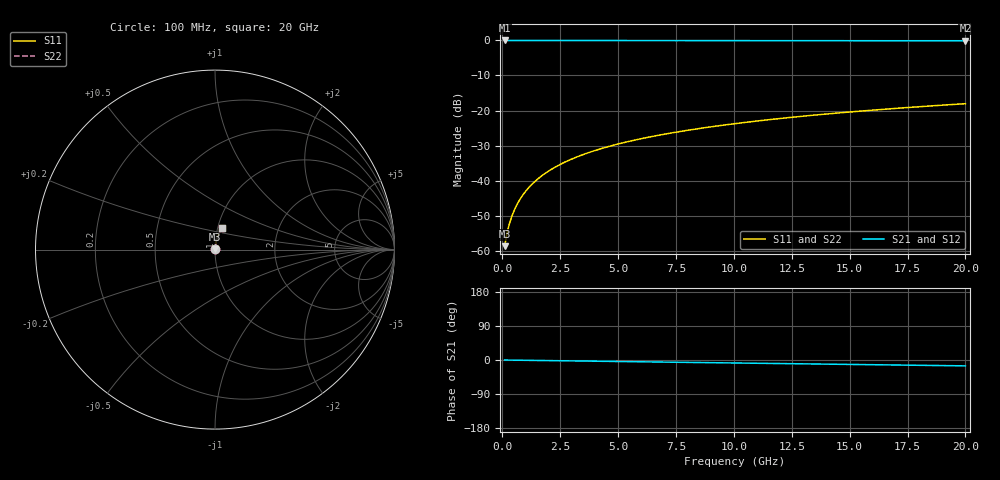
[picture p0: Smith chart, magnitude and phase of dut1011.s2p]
! Touchstone file exported from HFSS 2026.1.0
!  File:  C:/ffzhzh/LocalFiles/Ansys_Project_Files/temp_train_TMRDL_1011_1783159702_51560.aedt
!  Generated:  06:09:32 PM Jul  4, 2026
!  Design:  TMRDL
!  Project:  temp_train_TMRDL_1011_1783159702_51560
! Variables:
!  h_bsmrdl = 2um
!  h_ox = 20um
!  h_rdl = 5um
!  h_sub = 80um
!  h_tmrdl = 4.94um
!  h_tsv = 80um
!  h_via = 3um
!  l_bsmrdl = 300um
!  l_sub = 618.68um
!  l_tmrdl = 218.68um
!  m_sub = 200um
!  pitch = 40.73um
!  r_tsv = 6um
!  s_tmrdl = 10um
!  w_bsmrdl = 18um
!  w_sub = 500um
!  w_tmrdl = 22.4um
!  x_tsv_center1 = 229.88um
!  x_tsv_center2 = 547.88um
!  x_tsv_center3 = 788.96um
!  x_tsv_center4 = 1106.96um
!  x_tsv_center5 = 1348.04um
!  x_tsv_center6 = 1666.04um
# GHz S MA R 50.000000
! Terminal data exported
! Port[1] = TM_RDL1_1_T1
! Port[2] = TM_RDL1_1_T2
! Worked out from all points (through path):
!   200 points, 100 MHz to 20 GHz, reference 50 ohm
!   highest |S21| = -0.01 dB at 100 MHz (marker M1); lowest = -0.1 dB at 20 GHz (marker M2)
!   group delay of S21, straight-line fit = 2.15 ps
!   lowest |S11| = -58.7 dB at 100 MHz (marker M3), VSWR 1.00, Z = 50.1 + j0.077 ohm
!   |S11| at or under -10 dB: start of sweep to end of sweep
!   |S22| runs from -58.7 to -18.1 dB; largest |S21 - S12| = 1.7e-15
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0.1  0.00116 41.5  0.9991 -0.1  0.9991 -0.1  0.00116 41.5
! Gamma 0 0 0 0
! Port Impedance 50 0 50 0
0.2  0.001754 57.7  0.9991 -0.2  0.9991 -0.2  0.001754 57.7
0.3  0.00238 65.3  0.999 -0.2  0.999 -0.2  0.00238 65.3
0.4  0.003017 69.9  0.999 -0.3  0.999 -0.3  0.003017 69.9
0.5  0.003663 73.0  0.9989 -0.4  0.9989 -0.4  0.003663 73.0
0.6  0.004316 75.3  0.9989 -0.5  0.9989 -0.5  0.004316 75.3
0.8  0.00564 78.1  0.9989 -0.6  0.9989 -0.6  0.00564 78.1
1.1  0.007646 80.5  0.9988 -0.9  0.9988 -0.9  0.007646 80.5
1.5  0.01033 81.9  0.9987 -1.2  0.9987 -1.2  0.01033 81.9
1.8  0.01234 82.5  0.9986 -1.4  0.9986 -1.4  0.01234 82.5
2.1  0.01435 82.8  0.9985 -1.7  0.9985 -1.7  0.01435 82.8
2.7  0.01833 83.0  0.9983 -2.2  0.9983 -2.2  0.01833 83.0
3.5  0.02358 82.8  0.9979 -2.8  0.9979 -2.8  0.02358 82.8
4.2  0.02813 82.5  0.9976 -3.3  0.9976 -3.3  0.02813 82.5
5  0.03326 82.1  0.9972 -4.0  0.9972 -4.0  0.03326 82.1
5.9  0.03899 81.6  0.9967 -4.7  0.9967 -4.7  0.03899 81.6
6.8  0.04468 81.1  0.9962 -5.4  0.9962 -5.4  0.04468 81.1
8.3  0.05408 80.2  0.9954 -6.5  0.9954 -6.5  0.05408 80.2
10.1  0.06527 79.0  0.9944 -7.9  0.9944 -7.9  0.06527 79.0
13.4  0.08555 76.9  0.9923 -10.5  0.9923 -10.5  0.08555 76.9
16.7  0.1055 74.6  0.99 -13.0  0.99 -13.0  0.1055 74.6
20  0.1251 72.3  0.9873 -15.5  0.9873 -15.5  0.1251 72.3
